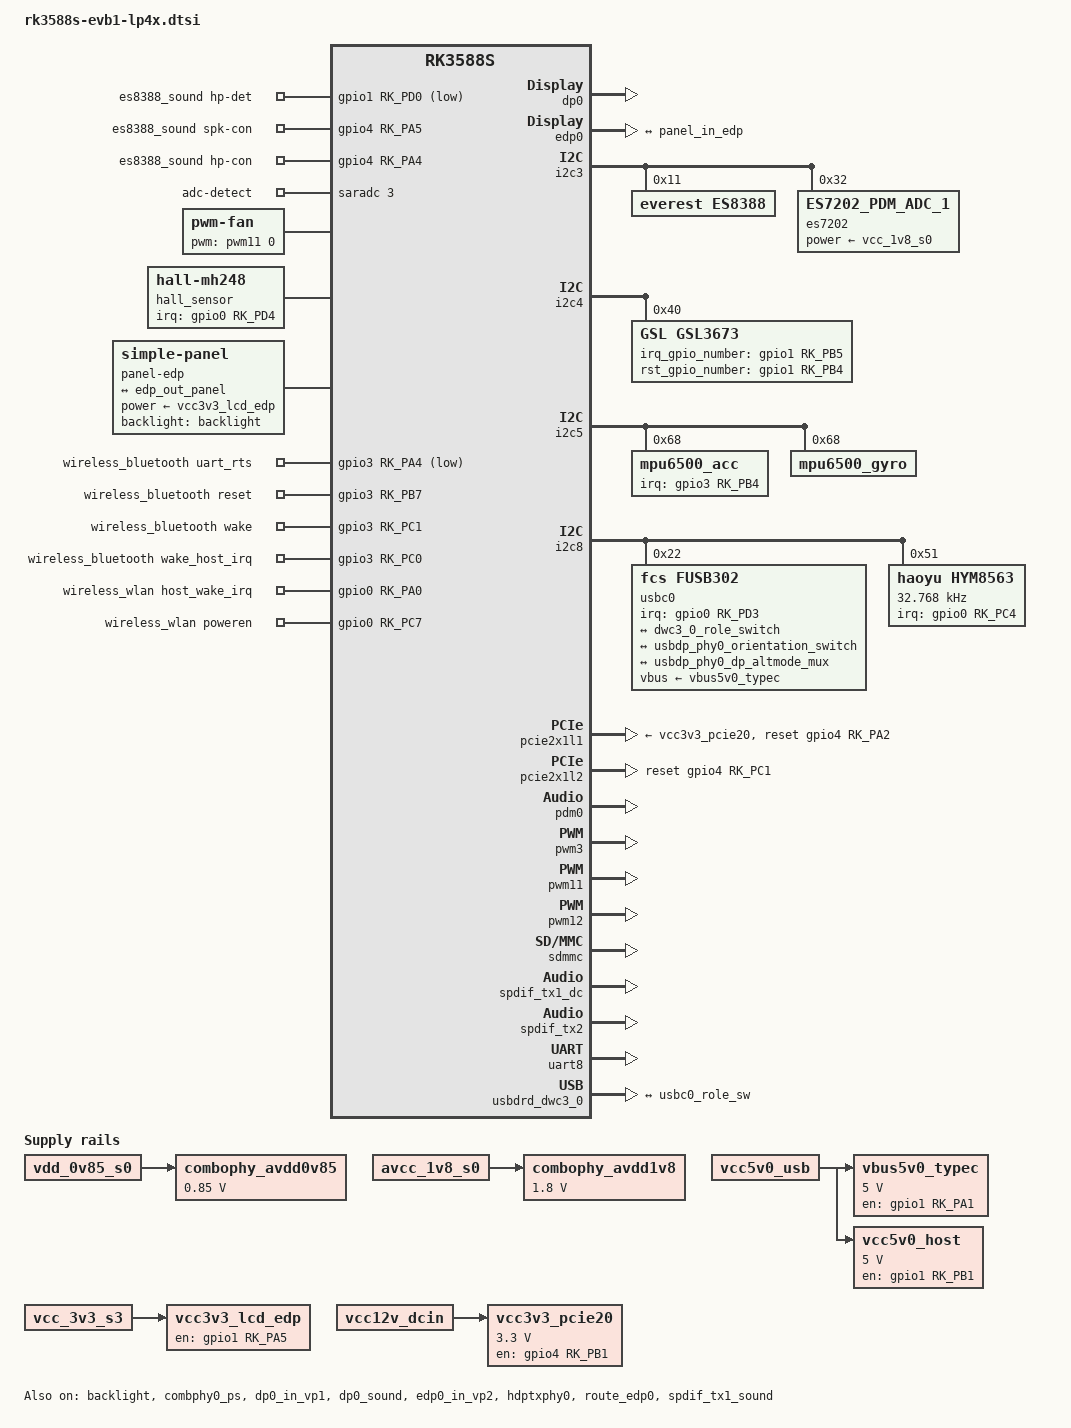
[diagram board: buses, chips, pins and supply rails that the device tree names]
// SPDX-License-Identifier: (GPL-2.0+ OR MIT)
/*
 * Copyright (c) 2021 Rockchip Electronics Co., Ltd.
 *
 */

#include "dt-bindings/usb/pd.h"
#include "rk3588s.dtsi"
#include "rk3588s-evb.dtsi"
#include "rk3588s-rk806-dual.dtsi"

/ {
	aw883xx_sound: aw883x-sound {
		status = "disabled";
		compatible = "rockchip,multicodecs-card";
		rockchip,card-name = "rockchip-aw883xx";
		rockchip,format = "i2s";
		rockchip,mclk-fs = <256>;
		rockchip,cpu = <&i2s0_8ch>;
		rockchip,codec = <&aw883xx_1 &aw883xx_2 &aw883xx_3 &aw883xx_4>;
	};

	combophy_avdd0v85: combophy-avdd0v85 {
		compatible = "regulator-fixed";
		regulator-name = "combophy_avdd0v85";
		regulator-boot-on;
		regulator-always-on;
		regulator-min-microvolt = <850000>;
		regulator-max-microvolt = <850000>;
		vin-supply = <&vdd_0v85_s0>;
	};

	combophy_avdd1v8: combophy-avdd1v8 {
		compatible = "regulator-fixed";
		regulator-name = "combophy_avdd1v8";
		regulator-boot-on;
		regulator-always-on;
		regulator-min-microvolt = <1800000>;
		regulator-max-microvolt = <1800000>;
		vin-supply = <&avcc_1v8_s0>;
	};

	es7202_sound_micarray: es7202-sound-micarray {
		status = "okay";
		compatible = "simple-audio-card";
		simple-audio-card,format = "i2s";
		simple-audio-card,name = "rockchip,sound-micarray";
		simple-audio-card,mclk-fs = <256>;
		simple-audio-card,dai-link@0 {
			format = "pdm";
			cpu {
				sound-dai = <&pdm0>;
			};
			codec {
				sound-dai = <&es7202>;
			};
		};
	};

	es8326_sound: es8326-sound {
		status = "disabled";
		compatible = "rockchip,multicodecs-card";
		rockchip,card-name = "rockchip-es8326";
		rockchip,format = "i2s";
		rockchip,mclk-fs = <256>;
		rockchip,cpu = <&i2s1_8ch>;
		rockchip,codec = <&es8326>;
		rockchip,audio-routing =
		"Headphone", "HPOL",
		"Headphone", "HPOR",
		"Headphone", "Headphone Power",
		"Headphone", "Headphone Power",
		"MIC1", "Headset Mic",
		"MIC2", "Main Mic";
	};

	es8388_sound: es8388-sound {
		status = "okay";
		compatible = "rockchip,multicodecs-card";
		rockchip,card-name = "rockchip-es8388";
		hp-det-gpio = <&gpio1 RK_PD0 GPIO_ACTIVE_LOW>;
		io-channels = <&saradc 3>;
		io-channel-names = "adc-detect";
		keyup-threshold-microvolt = <1800000>;
		poll-interval = <100>;
		spk-con-gpio = <&gpio4 RK_PA5 GPIO_ACTIVE_HIGH>;
		hp-con-gpio = <&gpio4 RK_PA4 GPIO_ACTIVE_HIGH>;
		rockchip,format = "i2s";
		rockchip,mclk-fs = <256>;
		rockchip,cpu = <&i2s0_8ch>;
		rockchip,codec = <&es8388>;
		rockchip,audio-routing =
			"Headphone", "LOUT1",
			"Headphone", "ROUT1",
			"Speaker", "LOUT2",
			"Speaker", "ROUT2",
			"Headphone", "Headphone Power",
			"Headphone", "Headphone Power",
			"Speaker", "Speaker Power",
			"Speaker", "Speaker Power",
			"LINPUT1", "Main Mic",
			"LINPUT2", "Main Mic",
			"RINPUT1", "Headset Mic",
			"RINPUT2", "Headset Mic";
		pinctrl-names = "default";
		pinctrl-0 = <&hp_det>;
		play-pause-key {
			label = "playpause";
			linux,code = <KEY_PLAYPAUSE>;
			press-threshold-microvolt = <2000>;
		};
	};

	fan: pwm-fan {
		compatible = "pwm-fan";
		#cooling-cells = <2>;
		pwms = <&pwm11 0 50000 0>;
		cooling-levels = <0 50 100 150 200 255>;
		rockchip,temp-trips = <
			50000	1
			55000	2
			60000	3
			65000	4
			70000	5
		>;
	};

	hall_sensor: hall-mh248 {
		compatible = "hall-mh248";
		pinctrl-names = "default";
		pinctrl-0 = <&mh248_irq_gpio>;
		irq-gpio = <&gpio0 RK_PD4 IRQ_TYPE_EDGE_BOTH>;
		hall-active = <1>;
		status = "okay";
	};

	panel-edp {
		compatible = "simple-panel";
		backlight = <&backlight>;
		power-supply = <&vcc3v3_lcd_edp>;
		prepare-delay-ms = <120>;
		enable-delay-ms = <120>;
		unprepare-delay-ms = <120>;
		disable-delay-ms = <120>;
		width-mm = <120>;
		height-mm = <160>;

		panel-timing {
			clock-frequency = <200000000>;
			hactive = <1536>;
			vactive = <2048>;
			hfront-porch = <12>;
			hsync-len = <16>;
			hback-porch = <48>;
			vfront-porch = <8>;
			vsync-len = <4>;
			vback-porch = <8>;
			hsync-active = <0>;
			vsync-active = <0>;
			de-active = <0>;
			pixelclk-active = <0>;
		};

		port {
			panel_in_edp: endpoint {
				remote-endpoint = <&edp_out_panel>;
			};
		};
	};

	vbus5v0_typec: vbus5v0-typec {
		compatible = "regulator-fixed";
		regulator-name = "vbus5v0_typec";
		regulator-min-microvolt = <5000000>;
		regulator-max-microvolt = <5000000>;
		enable-active-high;
		gpio = <&gpio1 RK_PA1 GPIO_ACTIVE_HIGH>;
		vin-supply = <&vcc5v0_usb>;
		pinctrl-names = "default";
		pinctrl-0 = <&typec5v_pwren>;
	};

	vcc3v3_lcd_edp: vcc3v3-lcd-edp {
		compatible = "regulator-fixed";
		regulator-name = "vcc3v3_lcd_edp";
		gpio = <&gpio1 RK_PA5 GPIO_ACTIVE_HIGH>;
		enable-active-high;
		regulator-boot-on;
		vin-supply = <&vcc_3v3_s3>;
	};

	vcc3v3_pcie20: vcc3v3-pcie20 {
		compatible = "regulator-fixed";
		regulator-name = "vcc3v3_pcie20";
		regulator-min-microvolt = <3300000>;
		regulator-max-microvolt = <3300000>;
		enable-active-high;
		gpios = <&gpio4 RK_PB1 GPIO_ACTIVE_HIGH>;
		startup-delay-us = <5000>;
		vin-supply = <&vcc12v_dcin>;
	};

	vcc5v0_host: vcc5v0-host {
		compatible = "regulator-fixed";
		regulator-name = "vcc5v0_host";
		regulator-boot-on;
		regulator-always-on;
		regulator-min-microvolt = <5000000>;
		regulator-max-microvolt = <5000000>;
		enable-active-high;
		gpio = <&gpio1 RK_PB1 GPIO_ACTIVE_HIGH>;
		vin-supply = <&vcc5v0_usb>;
		pinctrl-names = "default";
		pinctrl-0 = <&vcc5v0_host_en>;
	};

	wireless_bluetooth: wireless-bluetooth {
		compatible = "bluetooth-platdata";
		clocks = <&hym8563>;
		clock-names = "ext_clock";
		uart_rts_gpios = <&gpio3 RK_PA4 GPIO_ACTIVE_LOW>;
		pinctrl-names = "default", "rts_gpio";
		pinctrl-0 = <&uart8m1_rtsn>, <&bt_gpio>;
		pinctrl-1 = <&uart8_gpios>;
		BT,reset_gpio    = <&gpio3 RK_PB7 GPIO_ACTIVE_HIGH>;
		BT,wake_gpio     = <&gpio3 RK_PC1 GPIO_ACTIVE_HIGH>;
		BT,wake_host_irq = <&gpio3 RK_PC0 GPIO_ACTIVE_HIGH>;
		status = "okay";
	};

	wireless_wlan: wireless-wlan {
		compatible = "wlan-platdata";
		wifi_chip_type = "ap6275p";
		pinctrl-names = "default";
		pinctrl-0 = <&wifi_host_wake_irq>, <&wifi_poweren_gpio>;
		WIFI,host_wake_irq = <&gpio0 RK_PA0 GPIO_ACTIVE_HIGH>;
		WIFI,poweren_gpio = <&gpio0 RK_PC7 GPIO_ACTIVE_HIGH>;
		status = "okay";
	};
};

&backlight {
	pwms = <&pwm12 0 25000 0>;
	power-supply = <&vcc3v3_lcd_edp>;
	status = "okay";
};

&combphy0_ps {
	status = "okay";
};

&dp0 {
	status = "okay";
};

&dp0_in_vp1 {
	status = "okay";
};

&dp0_sound{
	status = "okay";
};

&edp0 {
	force-hpd;
	status = "okay";

	ports {
		port@1 {
			reg = <1>;

			edp_out_panel: endpoint {
				remote-endpoint = <&panel_in_edp>;
			};
		};
	};
};

&edp0_in_vp2 {
	status = "okay";
};

&hdptxphy0 {
	/* Single Vdiff Training Table for power reduction (optional) */
	training-table = /bits/ 8 <
		/* voltage swing 0, pre-emphasis 0->3 */
		0x0d 0x00 0x00 0x00 0x00 0x00
		0x0d 0x00 0x00 0x00 0x00 0x00
		0x0d 0x00 0x00 0x00 0x00 0x00
		0x0d 0x00 0x00 0x00 0x00 0x00
		/* voltage swing 1, pre-emphasis 0->2 */
		0x0d 0x00 0x00 0x00 0x00 0x00
		0x0d 0x00 0x00 0x00 0x00 0x00
		0x0d 0x00 0x00 0x00 0x00 0x00
		/* voltage swing 2, pre-emphasis 0->1 */
		0x0d 0x00 0x00 0x00 0x00 0x00
		0x0d 0x00 0x00 0x00 0x00 0x00
		/* voltage swing 3, pre-emphasis 0 */
		0x0d 0x00 0x00 0x00 0x00 0x00
	>;
	status = "okay";
};

&i2c3 {
	status = "okay";

	es8388: es8388@11 {
		status = "okay";
		#sound-dai-cells = <0>;
		compatible = "everest,es8388", "everest,es8323";
		reg = <0x11>;
		clocks = <&mclkout_i2s0>;
		clock-names = "mclk";
		assigned-clocks = <&mclkout_i2s0>;
		assigned-clock-rates = <12288000>;
		pinctrl-names = "default";
		pinctrl-0 = <&i2s0_mclk>;
	};

	es8326: es8326@18 {
		status = "disabled";
		#sound-dai-cells = <0>;
		compatible = "everest,es8326";
		reg = <0x18>;
		clocks = <&mclkout_i2s1>;
		clock-names = "mclk";
		assigned-clocks = <&mclkout_i2s1>;
		assigned-clock-rates = <12288000>;
		pinctrl-names = "default";
		pinctrl-0 = <&i2s1m0_mclk>;
		mclk-rate = <12288000>;
		mic1-src = [22];
		mic2-src = [44];
		jack-pol = [0e];
	};

	es7202: es7202@32 {
		status = "okay";
		#sound-dai-cells = <0>;
		compatible = "ES7202_PDM_ADC_1";
		power-supply = <&vcc_1v8_s0>;	/* only 1v8 or 3v3, default is 3v3 */
		reg = <0x32>;
	};

	aw883xx_1: aw883xx@34 {
		compatible = "awinic,aw883xx_smartpa";
		reg = <0x34>;
		#sound-dai-cells = <0>;
		reset-gpio = <&gpio4 RK_PB3 GPIO_ACTIVE_HIGH>;
		pinctrl-0 = <&aw_rst1_gpio>;
		pinctrl-names = "default";
		sound-channel = <0>;
		re-min = <1000>;
		re-max= <40000>;
		status = "disabled";
	};

	aw883xx_2: aw883xx@35 {
		compatible = "awinic,aw883xx_smartpa";
		reg = <0x35>;
		#sound-dai-cells = <0>;
		reset-gpio = <&gpio1 RK_PA5 GPIO_ACTIVE_HIGH>;
		pinctrl-0 = <&aw_rst2_gpio>;
		pinctrl-names = "default";
		sound-channel = <1>;
		re-min = <1000>;
		re-max= <40000>;
		status = "disabled";
	};
};

&i2c4 {
	pinctrl-names = "default";
	pinctrl-0 = <&i2c4m3_xfer>;
	status = "okay";

	aw883xx_3: aw883xx@34 {
		compatible = "awinic,aw883xx_smartpa";
		reg = <0x34>;
		#sound-dai-cells = <0>;
		reset-gpio = <&gpio3 RK_PC5 GPIO_ACTIVE_HIGH>;
		pinctrl-0 = <&aw_rst3_gpio>;
		pinctrl-names = "default";
		sound-channel = <2>;
		re-min = <1000>;
		re-max= <40000>;
		status = "disabled";
	};

	aw883xx_4: aw883xx@35 {
		compatible = "awinic,aw883xx_smartpa";
		reg = <0x35>;
		#sound-dai-cells = <0>;
		reset-gpio = <&gpio1 RK_PC4 GPIO_ACTIVE_HIGH>;
		pinctrl-0 = <&aw_rst4_gpio>;
		pinctrl-names = "default";
		sound-channel = <3>;
		re-min = <1000>;
		re-max= <40000>;
		status = "disabled";
	};

	gsl3673@40 {
		compatible = "GSL,GSL3673";
		reg = <0x40>;
		screen_max_x = <1536>;
		screen_max_y = <2048>;
		irq_gpio_number = <&gpio1 RK_PB5 IRQ_TYPE_LEVEL_LOW>;
		rst_gpio_number = <&gpio1 RK_PB4 GPIO_ACTIVE_HIGH>;
	};
};

&i2c5 {
	status = "okay";

	ls_stk3332: light@47 {
		compatible = "ls_stk3332";
		status = "disabled";
		reg = <0x47>;
		type = <SENSOR_TYPE_LIGHT>;
		irq_enable = <0>;
		als_threshold_high = <100>;
		als_threshold_low = <10>;
		als_ctrl_gain = <2>; /* 0:x1 1:x4 2:x16 3:x64 */
		poll_delay_ms = <100>;
	};

	ps_stk3332: proximity@47 {
		compatible = "ps_stk3332";
		status = "disabled";
		reg = <0x47>;
		type = <SENSOR_TYPE_PROXIMITY>;
		//pinctrl-names = "default";
		//pinctrl-0 = <&gpio3_c6>;
		//irq-gpio = <&gpio3 RK_PC6 IRQ_TYPE_LEVEL_LOW>;
		//irq_enable = <1>;
		ps_threshold_high = <0x200>;
		ps_threshold_low = <0x100>;
		ps_ctrl_gain = <3>; /* 0:x1 1:x2 2:x5 3:x8 */
		ps_led_current = <4>; /* 0:3.125mA 1:6.25mA 2:12.5mA 3:25mA 4:50mA 5:100mA*/
		poll_delay_ms = <100>;
	};

	mpu6500_acc: mpu_acc@68 {
		compatible = "mpu6500_acc";
		reg = <0x68>;
		irq-gpio = <&gpio3 RK_PB4 IRQ_TYPE_EDGE_RISING>;
		irq_enable = <0>;
		poll_delay_ms = <30>;
		type = <SENSOR_TYPE_ACCEL>;
		layout = <5>;
	};

	mpu6500_gyro: mpu_gyro@68 {
		compatible = "mpu6500_gyro";
		reg = <0x68>;
		poll_delay_ms = <30>;
		type = <SENSOR_TYPE_GYROSCOPE>;
		layout = <5>;
	};
};

&i2c8 {
	status = "okay";
	pinctrl-names = "default";
	pinctrl-0 = <&i2c8m2_xfer>;

	usbc0: fusb302@22 {
		compatible = "fcs,fusb302";
		reg = <0x22>;
		interrupt-parent = <&gpio0>;
		interrupts = <RK_PD3 IRQ_TYPE_LEVEL_LOW>;
		pinctrl-names = "default";
		pinctrl-0 = <&usbc0_int>;
		vbus-supply = <&vbus5v0_typec>;
		status = "okay";

		ports {
			#address-cells = <1>;
			#size-cells = <0>;

			port@0 {
				reg = <0>;
				usbc0_role_sw: endpoint@0 {
					remote-endpoint = <&dwc3_0_role_switch>;
				};
			};
		};

		usb_con: connector {
			compatible = "usb-c-connector";
			label = "USB-C";
			data-role = "dual";
			power-role = "dual";
			try-power-role = "sink";
			op-sink-microwatt = <1000000>;
			sink-pdos =
				<PDO_FIXED(5000, 1000, PDO_FIXED_USB_COMM)>;
			source-pdos =
				<PDO_FIXED(5000, 3000, PDO_FIXED_USB_COMM)>;

			altmodes {
				#address-cells = <1>;
				#size-cells = <0>;

				altmode@0 {
					reg = <0>;
					svid = <0xff01>;
					vdo = <0xffffffff>;
				};
			};

			ports {
				#address-cells = <1>;
				#size-cells = <0>;

				port@0 {
					reg = <0>;
					usbc0_orien_sw: endpoint {
						remote-endpoint = <&usbdp_phy0_orientation_switch>;
					};
				};

				port@1 {
					reg = <1>;
					dp_altmode_mux: endpoint {
						remote-endpoint = <&usbdp_phy0_dp_altmode_mux>;
					};
				};
			};
		};
	};

	hym8563: hym8563@51 {
		compatible = "haoyu,hym8563";
		reg = <0x51>;
		#clock-cells = <0>;
		clock-frequency = <32768>;
		clock-output-names = "hym8563";
		pinctrl-names = "default";
		pinctrl-0 = <&hym8563_int>;
		interrupt-parent = <&gpio0>;
		interrupts = <RK_PC4 IRQ_TYPE_LEVEL_LOW>;
		wakeup-source;
	};
};

&pcie2x1l1 {
	reset-gpios = <&gpio4 RK_PA2 GPIO_ACTIVE_HIGH>;
	vpcie3v3-supply = <&vcc3v3_pcie20>;
	status = "okay";
};

&pcie2x1l2 {
	reset-gpios = <&gpio4 RK_PC1 GPIO_ACTIVE_HIGH>;
	rockchip,skip-scan-in-resume;
	status = "okay";
};

&pdm0 {
	status = "okay";
};

&pinctrl {
	headphone {
		hp_det: hp-det {
			rockchip,pins = <1 RK_PD0 RK_FUNC_GPIO &pcfg_pull_none>;
		};
	};

	hym8563 {
		hym8563_int: hym8563-int {
			rockchip,pins = <0 RK_PC4 RK_FUNC_GPIO &pcfg_pull_up>;
		};
	};

	lcd {
		lcd_rst_gpio: lcd-rst-gpio {
			rockchip,pins = <1 RK_PA4 RK_FUNC_GPIO &pcfg_pull_none>;
		};
	};

	aw883x {
		aw_rst1_gpio: aw-rst1-gpio {
			rockchip,pins = <4 RK_PB3 RK_FUNC_GPIO &pcfg_pull_up>;
		};
		aw_rst2_gpio: aw-rst2-gpio {
			rockchip,pins = <1 RK_PA5 RK_FUNC_GPIO &pcfg_pull_up>;
		};
		aw_rst3_gpio: aw-rst3-gpio {
			rockchip,pins = <3 RK_PC5 RK_FUNC_GPIO &pcfg_pull_up>;
		};
		aw_rst4_gpio: aw-rst4-gpio {
			rockchip,pins = <1 RK_PC4 RK_FUNC_GPIO &pcfg_pull_up>;
		};
	};

	sensor {
		mh248_irq_gpio: mh248_irq_gpio {
			rockchip,pins = <0 RK_PD4 RK_FUNC_GPIO &pcfg_pull_up>;
		};

		mpu6500_irq_gpio: mpu6500_irq_gpio {
			rockchip,pins = <3 RK_PB4 RK_FUNC_GPIO &pcfg_pull_none>;
		};
	};

	usb {
		vcc5v0_host_en: vcc5v0-host-en {
			rockchip,pins = <1 RK_PB1 RK_FUNC_GPIO &pcfg_pull_none>;
		};
	};

	usb-typec {
		usbc0_int: usbc0-int {
			rockchip,pins = <0 RK_PD3 RK_FUNC_GPIO &pcfg_pull_up>;
		};

		typec5v_pwren: typec5v-pwren {
			rockchip,pins = <1 RK_PA1 RK_FUNC_GPIO &pcfg_pull_none>;
		};
	};

	wireless-bluetooth {
		uart8_gpios: uart8-gpios {
			rockchip,pins = <3 RK_PA4 RK_FUNC_GPIO &pcfg_pull_none>;
		};

		bt_gpio: bt-gpio {
			rockchip,pins =
				<3 RK_PB7 RK_FUNC_GPIO &pcfg_pull_none>,
				<3 RK_PC1 RK_FUNC_GPIO &pcfg_pull_up>,
				<3 RK_PC0 RK_FUNC_GPIO &pcfg_pull_down>;
		};
	};

	wireless-wlan {
		wifi_host_wake_irq: wifi-host-wake-irq {
			rockchip,pins = <0 RK_PA0 RK_FUNC_GPIO &pcfg_pull_down>;
		};

		wifi_poweren_gpio: wifi-poweren-gpio {
			rockchip,pins = <0 RK_PC7 RK_FUNC_GPIO &pcfg_pull_up>;
		};
	};
};

&pwm3 {
	compatible = "rockchip,remotectl-pwm";
	pinctrl-names = "default";
	pinctrl-0 = <&pwm3m3_pins>;
	remote_pwm_id = <3>;
	handle_cpu_id = <1>;
	remote_support_psci = <0>;
	status = "okay";

	ir_key1 {
		rockchip,usercode = <0x4040>;
		rockchip,key_table =
			<0xf2   KEY_REPLY>,
			<0xba   KEY_BACK>,
			<0xf4   KEY_UP>,
			<0xf1   KEY_DOWN>,
			<0xef   KEY_LEFT>,
			<0xee   KEY_RIGHT>,
			<0xbd   KEY_HOME>,
			<0xea   KEY_VOLUMEUP>,
			<0xe3   KEY_VOLUMEDOWN>,
			<0xe2   KEY_SEARCH>,
			<0xb2   KEY_POWER>,
			<0xbc   KEY_MUTE>,
			<0xec   KEY_MENU>,
			<0xbf   0x190>,
			<0xe0   0x191>,
			<0xe1   0x192>,
			<0xe9   183>,
			<0xe6   248>,
			<0xe8   185>,
			<0xe7   186>,
			<0xf0   388>,
			<0xbe   0x175>;
	};

	ir_key2 {
		rockchip,usercode = <0xff00>;
		rockchip,key_table =
			<0xf9   KEY_HOME>,
			<0xbf   KEY_BACK>,
			<0xfb   KEY_MENU>,
			<0xaa   KEY_REPLY>,
			<0xb9   KEY_UP>,
			<0xe9   KEY_DOWN>,
			<0xb8   KEY_LEFT>,
			<0xea   KEY_RIGHT>,
			<0xeb   KEY_VOLUMEDOWN>,
			<0xef   KEY_VOLUMEUP>,
			<0xf7   KEY_MUTE>,
			<0xe7   KEY_POWER>,
			<0xfc   KEY_POWER>,
			<0xa9   KEY_VOLUMEDOWN>,
			<0xa8   KEY_PLAYPAUSE>,
			<0xe0   KEY_VOLUMEDOWN>,
			<0xa5   KEY_VOLUMEDOWN>,
			<0xab   183>,
			<0xb7   388>,
			<0xe8   388>,
			<0xf8   184>,
			<0xaf   185>,
			<0xed   KEY_VOLUMEDOWN>,
			<0xee   186>,
			<0xb3   KEY_VOLUMEDOWN>,
			<0xf1   KEY_VOLUMEDOWN>,
			<0xf2   KEY_VOLUMEDOWN>,
			<0xf3   KEY_SEARCH>,
			<0xb4   KEY_VOLUMEDOWN>,
			<0xa4   KEY_SETUP>,
			<0xbe   KEY_SEARCH>;
	};

	ir_key3 {
		rockchip,usercode = <0x1dcc>;
		rockchip,key_table =
			<0xee   KEY_REPLY>,
			<0xf0   KEY_BACK>,
			<0xf8   KEY_UP>,
			<0xbb   KEY_DOWN>,
			<0xef   KEY_LEFT>,
			<0xed   KEY_RIGHT>,
			<0xfc   KEY_HOME>,
			<0xf1   KEY_VOLUMEUP>,
			<0xfd   KEY_VOLUMEDOWN>,
			<0xb7   KEY_SEARCH>,
			<0xff   KEY_POWER>,
			<0xf3   KEY_MUTE>,
			<0xbf   KEY_MENU>,
			<0xf9   0x191>,
			<0xf5   0x192>,
			<0xb3   388>,
			<0xbe   KEY_1>,
			<0xba   KEY_2>,
			<0xb2   KEY_3>,
			<0xbd   KEY_4>,
			<0xf9   KEY_5>,
			<0xb1   KEY_6>,
			<0xfc   KEY_7>,
			<0xf8   KEY_8>,
			<0xb0   KEY_9>,
			<0xb6   KEY_0>,
			<0xb5   KEY_BACKSPACE>;
	};
};

&pwm11 {
	pinctrl-0 = <&pwm11m1_pins>;
	status = "okay";
};

&pwm12 {
	pinctrl-0 = <&pwm12m1_pins>;
	status = "okay";
};

&route_edp0 {
	connect = <&vp2_out_edp0>;
	status = "okay";
};

&sdmmc {
	status = "okay";
};

&spdif_tx1 {
	status = "disabled";
	pinctrl-names = "default";
	pinctrl-0 = <&spdif1m1_tx>;
};

&spdif_tx1_dc {
	status = "okay";
};

&spdif_tx1_sound {
	status = "okay";
};

&spdif_tx2 {
	status = "okay";
};

&u2phy0_otg {
	rockchip,typec-vbus-det;
};

&u2phy2_host {
	phy-supply = <&vcc5v0_host>;
};

&u2phy3_host {
	phy-supply = <&vcc5v0_host>;
};

&uart8 {
	status = "okay";
	pinctrl-names = "default";
	pinctrl-0 = <&uart8m1_xfer &uart8m1_ctsn>;
};

&usbdp_phy0 {
	orientation-switch;
	svid = <0xff01>;
	sbu1-dc-gpios = <&gpio1 RK_PB6 GPIO_ACTIVE_HIGH>;
	sbu2-dc-gpios = <&gpio1 RK_PB7 GPIO_ACTIVE_HIGH>;

	port {
		#address-cells = <1>;
		#size-cells = <0>;
		usbdp_phy0_orientation_switch: endpoint@0 {
			reg = <0>;
			remote-endpoint = <&usbc0_orien_sw>;
		};

		usbdp_phy0_dp_altmode_mux: endpoint@1 {
			reg = <1>;
			remote-endpoint = <&dp_altmode_mux>;
		};
	};
};

&usbdrd_dwc3_0 {
	usb-role-switch;
	port {
		#address-cells = <1>;
		#size-cells = <0>;
		dwc3_0_role_switch: endpoint@0 {
			reg = <0>;
			remote-endpoint = <&usbc0_role_sw>;
		};
	};
};

&usbhost3_0 {
	status = "disabled";
};

&usbhost_dwc3_0 {
	status = "disabled";
};

/* vp0 & vp3 are not used on this board */
&vp0 {
	/delete-property/ rockchip,plane-mask;
	/delete-property/ rockchip,primary-plane;
};

&vp1 {
	rockchip,plane-mask = <(1 << ROCKCHIP_VOP2_CLUSTER0 | 1 << ROCKCHIP_VOP2_ESMART0 |
				1 << ROCKCHIP_VOP2_CLUSTER1 | 1 << ROCKCHIP_VOP2_ESMART1)>;
	rockchip,primary-plane = <ROCKCHIP_VOP2_ESMART1>;
};

&vp2 {
	rockchip,plane-mask = <(1 << ROCKCHIP_VOP2_CLUSTER2 | 1 << ROCKCHIP_VOP2_ESMART2 |
				1 << ROCKCHIP_VOP2_CLUSTER3 | 1 << ROCKCHIP_VOP2_ESMART3)>;
	rockchip,primary-plane = <ROCKCHIP_VOP2_ESMART2>;
};

&vp3 {
	/delete-property/ rockchip,plane-mask;
	/delete-property/ rockchip,primary-plane;
};
